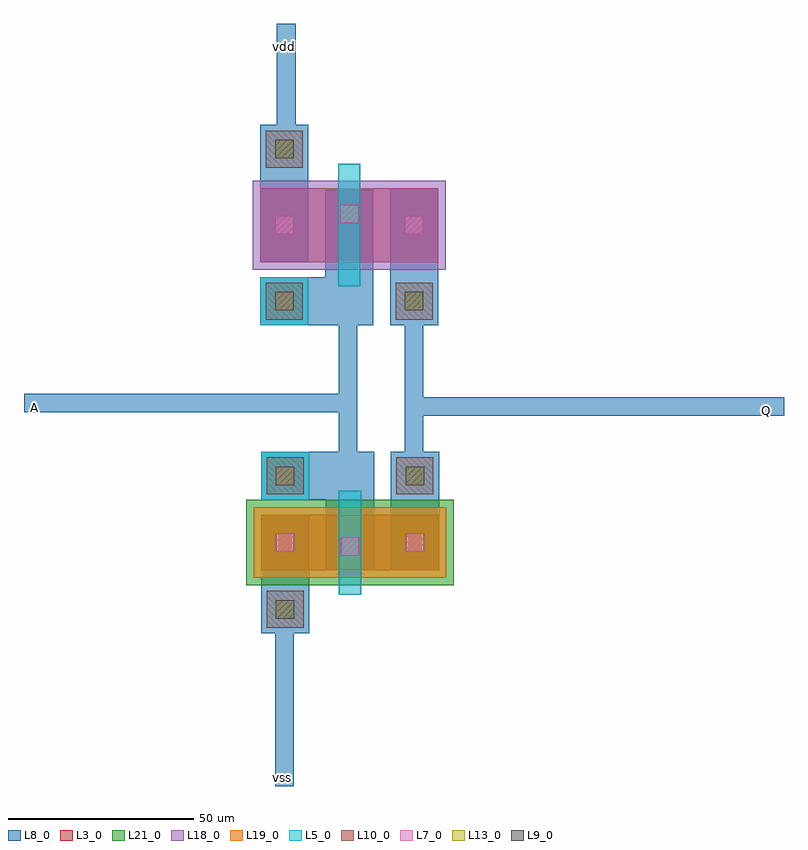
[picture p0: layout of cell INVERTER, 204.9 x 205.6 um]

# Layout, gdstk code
import gdstk
lib = gdstk.Library(unit=1e-6, precision=1e-07)
def R(c, l, rs):  # rectangles x0, y0, x1, y1
    for r in rs: c.add(gdstk.rectangle(r[:2], r[2:], *l))
L3_0 = (3, 0)
L5_0 = (5, 0)
L7_0 = (7, 0)
L8_0 = (8, 0)
L9_0 = (9, 0)
L10_0 = (10, 0)
L13_0 = (13, 0)
L18_0 = (18, 0)
L19_0 = (19, 0)
L21_0 = (21, 0)

dcont = lib.new_cell('dcont')
R(dcont, L3_0, [(-6.5,-6.5,6.5,6.5)])
R(dcont, L7_0, [(-2.5,-2.5,2.5,2.5)])
R(dcont, L8_0, [(-6.5,-6.5,6.5,6.5)])

pcont = lib.new_cell('pcont')
R(pcont, L5_0, [(-6.5,-6.5,6.5,6.5)])
R(pcont, L7_0, [(-2.5,-2.5,2.5,2.5)])
R(pcont, L8_0, [(-6.5,-6.5,6.5,6.5)])
R(pcont, L13_0, [(-2.5,-2.5,2.5,2.5)])

via = lib.new_cell('Via')
R(via, L8_0, [(-6.5,-6.5,6.5,6.5)])
R(via, L9_0, [(-2.5,-2.5,2.5,2.5)])
R(via, L10_0, [(-5,-5,5,5)])
R(via, L13_0, [(-2.5,-2.5,2.5,2.5)])

nch_1 = lib.new_cell('Nch$1')
R(nch_1, L3_0, [(0,17,48,32)])
R(nch_1, L19_0, [(-2,15,50,34)])
R(nch_1, L21_0, [(-4,13,52,36)])
nch_1.add(gdstk.FlexPath([(6.5,17),(6.5,32)], 13, ends="flush", simple_path=True, layer=8, datatype=0))  # L8_0
nch_1.add(gdstk.FlexPath([(41.5,17),(41.5,32)], 13, ends="flush", simple_path=True, layer=8, datatype=0))  # L8_0
nch_1.add(gdstk.FlexPath([(6.5,42.5),(24,42.5),(24,38.5)], 13, ends="flush", simple_path=True, layer=8, datatype=0))  # L8_0
nch_1.add(gdstk.FlexPath([(6.5,6.5),(6.5,21)], 13, ends="flush", simple_path=True, layer=8, datatype=0))  # L8_0
nch_1.add(gdstk.FlexPath([(24,17),(24,42.5)], 13, ends="flush", simple_path=True, layer=8, datatype=0))  # L8_0
nch_1.add(gdstk.FlexPath([(41.5,28),(41.5,41.5)], 13, ends="flush", simple_path=True, layer=8, datatype=0))  # L8_0
nch_1.add(gdstk.FlexPath([(24,17),(24,32)], 6, ends=(6.5, 6.5), simple_path=True, layer=5, datatype=0))  # L5_0
nch_1.add(gdstk.Reference(dcont, (6.5,24.5)))
nch_1.add(gdstk.Reference(dcont, (41.5,24.5)))
nch_1.add(gdstk.Reference(pcont, (6.5,42.5)))
nch_1.add(gdstk.Reference(via, (6.5,42.5)))
nch_1.add(gdstk.Reference(via, (6.5,6.5)))
nch_1.add(gdstk.Reference(dcont, (24,23.5)))
nch_1.add(gdstk.Reference(via, (41.5,42.5)))

pch = lib.new_cell('Pch')
R(pch, L3_0, [(0,17,48,37)])
R(pch, L18_0, [(-2,15,50,39)])
pch.add(gdstk.FlexPath([(6.5,17),(6.5,37)], 13, ends="flush", simple_path=True, layer=8, datatype=0))  # L8_0
pch.add(gdstk.FlexPath([(41.5,17),(41.5,37)], 13, ends="flush", simple_path=True, layer=8, datatype=0))  # L8_0
pch.add(gdstk.FlexPath([(6.5,6.5),(24,6.5),(24,10.5)], 13, ends="flush", simple_path=True, layer=8, datatype=0))  # L8_0
pch.add(gdstk.FlexPath([(6.5,33),(6.5,47.5)], 13, ends="flush", simple_path=True, layer=8, datatype=0))  # L8_0
pch.add(gdstk.FlexPath([(24,6.5),(24,36.5)], 13, ends="flush", simple_path=True, layer=8, datatype=0))  # L8_0
pch.add(gdstk.FlexPath([(41.5,9),(41.5,21)], 13, ends="flush", simple_path=True, layer=8, datatype=0))  # L8_0
pch.add(gdstk.FlexPath([(24,17),(24,37)], 6, ends=(6.5, 6.5), simple_path=True, layer=5, datatype=0))  # L5_0
pch.add(gdstk.Reference(dcont, (6.5,27)))
pch.add(gdstk.Reference(dcont, (41.5,27)))
pch.add(gdstk.Reference(pcont, (6.5,6.5)))
pch.add(gdstk.Reference(via, (6.5,6.5)))
pch.add(gdstk.Reference(via, (6.5,47.5)))
pch.add(gdstk.Reference(dcont, (24,30)))
pch.add(gdstk.Reference(via, (41.5,6.5)))

inverter = lib.new_cell('INVERTER')
inverter.add(gdstk.FlexPath([(84.6,119.7),(84.6,163.6)], 5, ends="flush", simple_path=True, layer=8, datatype=0))  # L8_0
inverter.add(gdstk.FlexPath([(101,61.3),(13.9,61.3)], 5, ends="flush", simple_path=True, layer=8, datatype=0))  # L8_0
inverter.add(gdstk.FlexPath([(101.3,104.8),(101.3,20.3)], 5, ends="flush", simple_path=True, layer=8, datatype=0))  # L8_0
inverter.add(gdstk.FlexPath([(119.1,60.4),(218.8,60.4)], 5, ends="flush", simple_path=True, layer=8, datatype=0))  # L8_0
inverter.add(gdstk.FlexPath([(119.1,90.8),(119.1,28.8)], 5, ends="flush", simple_path=True, layer=8, datatype=0))  # L8_0
inverter.add(gdstk.FlexPath([(84.1,7.7),(84.1,-42)], 5, ends="flush", simple_path=True, layer=8, datatype=0))  # L8_0
inverter.add(gdstk.Reference(nch_1, (77.8,-0.8)))
inverter.add(gdstk.Reference(pch, (77.6,82.3)))
inverter.add(gdstk.Label('vdd', (84.1,157.4), layer=8, texttype=0))
inverter.add(gdstk.Label('vss', (83.5,-39.6), layer=8, texttype=0))
inverter.add(gdstk.Label('A', (16.8,60.1), layer=8, texttype=0))
inverter.add(gdstk.Label('Q', (214.2,59.2), layer=8, texttype=0))

lib.write_gds('INVERTER.gds')
